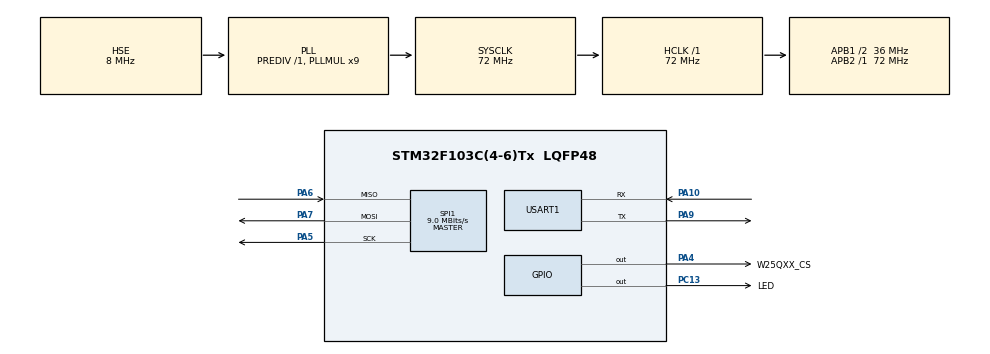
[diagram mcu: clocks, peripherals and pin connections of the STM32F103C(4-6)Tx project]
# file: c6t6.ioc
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FREERTOS.Tasks01=defaultTask,0,128,StartDefaultTask,Default,NULL,Dynamic,NULL,NULL;myTaskLED,0,128,StartTaskLED,Default,NULL,Dynamic,NULL,NULL
FREERTOS.Timers01=myTimer01,Callback01,osTimerPeriodic,Default,NULL,Dynamic,NULL
FREERTOS.configUSE_TIMERS=1
Mcu.Family=STM32F1
Mcu.Name=STM32F103C(4-6)Tx
Mcu.Package=LQFP48
NVIC.PriorityGroup=NVIC_PRIORITYGROUP_4
NVIC.TIM1_UP_IRQn=true\:15\:0\:false\:false\:true\:false\:false\:true\:true
NVIC.TimeBase=TIM1_UP_IRQn
NVIC.TimeBaseIP=TIM1
PA10.Mode=Asynchronous
PA10.Signal=USART1_RX
PA13.Mode=Serial_Wire
PA13.Signal=SYS_JTMS-SWDIO
PA14.Mode=Serial_Wire
PA14.Signal=SYS_JTCK-SWCLK
PA4.GPIO_Label=W25QXX_CS
PA4.GPIO_PuPd=GPIO_PULLUP
PA4.GPIO_Speed=GPIO_SPEED_FREQ_HIGH
PA4.PinState=GPIO_PIN_SET
PA4.Signal=GPIO_Output
PA5.Mode=Full_Duplex_Master
PA5.Signal=SPI1_SCK
PA6.Mode=Full_Duplex_Master
PA6.Signal=SPI1_MISO
PA7.Mode=Full_Duplex_Master
PA7.Signal=SPI1_MOSI
PA9.Mode=Asynchronous
PA9.Signal=USART1_TX
PC13-TAMPER-RTC.GPIO_Label=LED
PC13-TAMPER-RTC.Signal=GPIO_Output
PD0-OSC_IN.Mode=HSE-External-Oscillator
PD0-OSC_IN.Signal=RCC_OSC_IN
PD1-OSC_OUT.Mode=HSE-External-Oscillator
PD1-OSC_OUT.Signal=RCC_OSC_OUT
ProjectManager.HeapSize=0x200
ProjectManager.StackSize=0x400
ProjectManager.TargetToolchain=MDK-ARM V5.32
RCC.AHBFreq_Value=72000000
RCC.APB1CLKDivider=RCC_HCLK_DIV2
RCC.APB1Freq_Value=36000000
RCC.APB1TimFreq_Value=72000000
RCC.APB2Freq_Value=72000000
RCC.APB2TimFreq_Value=72000000
RCC.HCLKFreq_Value=72000000
RCC.PLLMUL=RCC_PLL_MUL9
RCC.PLLSourceVirtual=RCC_PLLSOURCE_HSE
RCC.SYSCLKFreq_VALUE=72000000
RCC.SYSCLKSource=RCC_SYSCLKSOURCE_PLLCLK
RCC.USBFreq_Value=72000000
SPI1.BaudRatePrescaler=SPI_BAUDRATEPRESCALER_8
SPI1.CalculateBaudRate=9.0 MBits/s
SPI1.Direction=SPI_DIRECTION_2LINES
SPI1.Mode=SPI_MODE_MASTER
SPI1.VirtualType=VM_MASTER
USART1.VirtualMode=VM_ASYNC
VP_FREERTOS_VS_CMSIS_V1.Mode=CMSIS_V1
VP_SYS_VS_tim1.Mode=TIM1
board=custom

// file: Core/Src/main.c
/* USER CODE BEGIN Header */
/**
  ******************************************************************************
  * @file           : main.c
  * @brief          : Main program body
  ******************************************************************************
  * @attention
  *
  * Copyright (c) 2025 STMicroelectronics.
  * All rights reserved.
  *
  * This software is licensed under terms that can be found in the LICENSE file
  * in the root directory of this software component.
  * If no LICENSE file comes with this software, it is provided AS-IS.
  *
  ******************************************************************************
  */
/* USER CODE END Header */
#include "main.h"
#include "cmsis_os.h"
#include "spi.h"
#include "usart.h"
#include "gpio.h"

/* USER CODE BEGIN Includes */
#include"W25Qxx.h"
#include<stdio.h>
#include<string.h>
#include"timers.h"//定时器
#include "sfud.h"
#include<assert.h>
#include"SEGGER_RTT.h"
/* USER CODE END Includes */

/* USER CODE BEGIN PTD */
#pragma pack(push, 1) // 禁用结构体填充
typedef struct {
    char date[11];      // 日期：YYYY-MM-DD
    char time[9];       // 时间：HH:MM:SS
    char type[8];       // 类型：INFO/WARN/ERROR
    char content[128];  // 日志内容
} LogEntry;
#pragma pack(pop)      // 恢复默认填充
/* USER CODE END PTD */

/* USER CODE BEGIN PD */
uint8_t wData[0x100];// 写
uint8_t rData[0x100];// 读
uint8_t ID[4];// dev_id
uint32_t i;
#define MAX_LOG_ENTRIES 10 // 不能太大 报错 c6t6\c6t6.axf: Error: L6406E: No space in execution regions with .ANY selector matching main.o(.bss).
LogEntry logs[MAX_LOG_ENTRIES];
uint16_t log_count = 0; // 日志计数器
sfud_flash *flash = NULL;//  sfud 设备对象
uint32_t log_write_addr = 0x0000; // 初始写入地址
#define SFUD_W25Q64_SECTOR_SIZE 4096 // SFUD W25Q64 扇区大小
/* USER CODE END PD */

void SystemClock_Config(void);
void MX_FREERTOS_Init(void);

/* USER CODE BEGIN 0 */
// 系统自检
void SystemCheck(void)
{
  // 灯光闪烁3次
  for(i=0;i<3;i++)
  {
    HAL_GPIO_TogglePin(LED_GPIO_Port,LED_Pin);
    printf("SystemCheck %d \r\n",i);
    HAL_Delay(5000);
  }
}
// sfud测试
void es(void) {
  printf("擦除一个扇区数据\r\n");
  const sfud_flash* flash = sfud_get_device(0);
  sfud_erase(flash, 0, 4096);
}
void ws(void) {
  printf("写入数据\r\n");
  const sfud_flash* flash = sfud_get_device(0);
  uint8_t buff[100] = {0};
  for (uint8_t i = 0; i < 100; i++) {
      buff[i] = i;
  }
  sfud_erase_write(flash, 0, 100, buff);
}
void rs(void) {
  printf("读取数据\r\n");
  const sfud_flash* flash = sfud_get_device(0);
  uint8_t buff[100] = {0};
  sfud_read(flash, 0, 100, buff);
  for (uint8_t i = 0; i < 100; i++) {
      printf("%d ", buff[i]);
      if (i % 10 == 0) {
          printf("\r\n");
      }
  }
}
const uint32_t LOG_START_ADDR = 0x000000; // 日志存储起始地址
#define MAX_LOGS        6000    // 最大日志条目数
// sfud测试
//从Flash读取所有日志到内存
// 检查条目是否为空（全0xFF）
bool is_entry_empty(const LogEntry *entry) {
    const uint8_t *bytes = (const uint8_t *)entry;
    for (size_t i = 0; i < sizeof(LogEntry); i++) {
        if (bytes[i] != 0xFF) return false;
    }
    return true;
}
void log_read_all() {
    if (flash == NULL) {
        printf("[ERROR] Flash设备未初始化!\n");
        return;
    }

    uint32_t addr = LOG_START_ADDR;
    log_count = 0;

    while (addr < flash->chip.capacity && log_count < 2) {
        LogEntry entry;
        sfud_err result = sfud_read(flash, addr, sizeof(LogEntry), (uint8_t *)&entry);

        if (result != SFUD_SUCCESS) {
            printf("[ERROR] 地址0x%08X读取失败: %d\n", addr, result);
            addr += sizeof(LogEntry);
            continue;
        }

        // 调试输出原始数据（可选）
        // printf("读取地址: 0x%08X, 日期: %s, 类型: %s\n", addr, entry.date, entry.type);

        if (!is_entry_empty(&entry)) {
            // 检查字符串终止符
            entry.date[sizeof(entry.date) - 1] = '\0';
            entry.time[sizeof(entry.time) - 1] = '\0';
            entry.type[sizeof(entry.type) - 1] = '\0';
            entry.content[sizeof(entry.content) - 1] = '\0';

            // 拷贝到内存
            memcpy(&logs[log_count], &entry, sizeof(LogEntry));
            log_count++;
        }

        addr += sizeof(LogEntry);
    }

    printf("成功读取 %d 条日志\n", log_count);
}

// 调试函数：打印第一条日志内容
void debug_first_log() {
    if (log_count == 0) {
        printf("无有效日志!\n");
        return;
    }

    printf("第一条日志内容:\n");
    printf("日期: %s\n", logs[0].date);
    printf("时间: %s\n", logs[0].time);
    printf("类型: %s\n", logs[0].type);
    printf("内容: %s\n", logs[0].content);
}
void log_init() {
    // 初始化 SFUD
    sfud_init();
    flash = sfud_get_device(0);

    // 检查 Flash 是否支持擦除和写入
    //assert(flash != NULL && sfud_is_available(flash));

    // 从 Flash 读取上次的写入地址（需持久化存储，此处简化）
    // 实际项目中可将 log_write_addr 存储在 Flash 的固定位置
}
void log_erase_sector(uint32_t addr) {
    sfud_err result = sfud_erase(flash, addr, SFUD_W25Q64_SECTOR_SIZE);
	  printf("0 成功 erase sucess %d\n",result);
    //assert(result == SFUD_SUCCESS);
}
void log_write_entry(LogEntry *entry) {
    // 初始化缓冲区为全 0xFF
    uint8_t buffer[sizeof(LogEntry)];
    memset(buffer, 0xFF, sizeof(buffer));

    // 拷贝有效数据到缓冲区
    memcpy(buffer, entry, sizeof(LogEntry));

    // 写入 Flash
    sfud_err result = sfud_write(flash, log_write_addr, sizeof(buffer), buffer);
    if (result != SFUD_SUCCESS) {
        printf("Error writing log to Flash at 0x%08X\n", log_write_addr);
        return;
    }

    // 更新写入地址
    log_write_addr += sizeof(LogEntry);
}

#if 0
void log_read_all() {
    uint32_t addr = 0;
    log_count = 0;

    while (addr < log_write_addr && log_count < MAX_LOG_ENTRIES) {
        // 从 Flash 读取一条日志
        sfud_read(flash, addr, sizeof(LogEntry), (uint8_t *)&logs[log_count]);

        // 跳过未写入区域（全 0xFF）
        if (logs[log_count].date[0] != 0xFF) {
            log_count++;
        }
        addr += sizeof(LogEntry);
    }
}
#endif
//#define MAX_LOG_ENTRIES 1000  // 最大日志条目数
//LogEntry logs[MAX_LOG_ENTRIES];
//uint16_t log_count = 0;       // 实际读取的日志数量
#include <stdbool.h>

// 检查条目是否为空（全 0xFF）
bool is_entry_empty2(const LogEntry *entry) {
    const uint8_t *bytes = (const uint8_t *)entry;
    for (size_t i = 0; i < sizeof(LogEntry); i++) {
        if (bytes[i] != 0xFF) {
            return false;
        }
    }
    return true;
}

void log_read_all2() {
    uint32_t addr = 0x000000; // 日志存储起始地址
    log_count = 0;            // 重置计数器

    // 遍历日志存储区域
    while (addr < log_write_addr && log_count < MAX_LOG_ENTRIES) {
        // 从 Flash 读取一条日志
        sfud_err result = sfud_read(flash, addr, sizeof(LogEntry), (uint8_t *)&logs[log_count]);
        if (result != SFUD_SUCCESS) {
            printf("Error reading log at 0x%08X\n", addr);
            addr += sizeof(LogEntry); // 跳过错误条目
            continue;
        }

        // 仅统计非空条目
        if (!is_entry_empty(&logs[log_count])) {
            log_count++;
        }

        // 移动到下一个日志位置
        addr += sizeof(LogEntry);
    }

    printf("Total logs read: %d\n", log_count);
}
void filter_logs(const char *selected_date, const char *selected_type) {
    //lv_list_clean(log_list); // 清空当前列表
    printf("\r\n--- Filtered Logs (Date: %s, Type: %s) ---\r\n", selected_date, selected_type);

    for (int i = 0; i < log_count; i++) {
        bool date_match = (strcmp(selected_date, "All") == 0) ||
                          (strcmp(logs[i].date, selected_date) == 0);
        bool type_match = (strcmp(selected_type, "All") == 0) ||
                          (strcmp(logs[i].type, selected_type) == 0);

        if (date_match && type_match) {
            // 显示到 LVGL 列表
            //lv_obj_t *entry = lv_list_add_btn(log_list, NULL, "");
            //lv_obj_t *label = lv_label_create(entry, NULL);
            //lv_label_set_text_fmt(label, "[%s][%s] %s",
            //                      logs[i].date, logs[i].type, logs[i].content);

            // 输出到串口
            printf("[%s][%s] %s\r\n",
                   logs[i].date, logs[i].type, logs[i].content);
        }
    }
    printf("--- End of Logs ---\r\n");
}
void log_write_and_refresh(LogEntry *entry) {
    log_write_entry(entry);      // 写入新日志
    log_read_all();              // 重新读取日志
    filter_logs("All", "All");   // 刷新界面显示
}
// 打印第一条日志的原始字节（十六进制）
void debug_log_entry(const LogEntry *entry) {
    const uint8_t *bytes = (const uint8_t *)entry;
    printf("Raw data of LogEntry:\r\n");
    for (size_t i = 0; i < sizeof(LogEntry); i++) {
        printf("%02X ", bytes[i]);
        if ((i + 1) % 16 == 0) printf("\r\n");
    }
    printf("\r\n");
}

// 在 log_read_and_print 中调用
//debug_log_entry(&logs[0]);
void test_log_read() {
    // 清空日志存储区
    log_write_addr = 0x000000;
    sfud_erase(flash, 0x000000, SFUD_W25Q64_SECTOR_SIZE);

    // 写入有效日志
    LogEntry entry1 = {
        .date = "2023-10-01",
        .time = "12:00:00",
        .type = "INFO",
        .content = "System started."
    };
    log_write_entry(&entry1);

    // 写入一个空条目（全 0xFF）
    LogEntry entry2;
    memset(&entry2, 0xFF, sizeof(LogEntry));
    log_write_entry(&entry2);

    // 读取日志
    log_read_all();
    // 在 log_read_and_print 中调用  可以使用
    debug_log_entry(&logs[0]);
		printf("Test fields:\r\n");
    printf("date:  %s (len=%d)\r\n", logs[0].date, strlen(logs[0].date));
    printf("type:  %s (len=%d)\r\n", logs[0].type, strlen(logs[0].type));
    printf("content:  %s (len=%d)\r\n", logs[0].content, strlen(logs[0].content));
    // 验证结果
    if (log_count == 1 && strcmp(logs[0].date, "2023-10-01") == 0) {
        printf("Test passed: 1 valid log found.\n");
			// 输出到串口
        printf("test [%s][%s] %s \r\n", logs[0].date, logs[0].type, logs[0].content);
    } else {
        printf("Test failed: Expected 1 log, found %d.\n", log_count);
    }
}
uint32_t log_start_addr = 0x000000; // 日志存储起始地址
void log_read_and_print() {
    uint32_t addr = log_start_addr;
    log_count = 0;

    // 读取所有日志到内存
    while (addr < flash->chip.capacity && log_count < MAX_LOG_ENTRIES) {
        sfud_read(flash, addr, sizeof(LogEntry), (uint8_t *)&logs[log_count]);

        if (!is_entry_empty(&logs[log_count])) {
            log_count++;
        }
        addr += sizeof(LogEntry);
    }

    // 通过串口格式化输出
    printf("\r\n--- Log Entries (Total: %d) ---\r\n", log_count);
    for (int i = 0; i < log_count; i++) {
        printf("[%s %s][%s] %s\r\n",
               logs[i].date,
               logs[i].time,
               logs[i].type,
               logs[i].content);
    }
    printf("--- End of Logs ---\r\n");
}
void log_read_and_print2() {
    uint32_t addr = log_start_addr;
    LogEntry entry;

    printf("\r\n--- Log Entries ---\r\n");
    while (addr < flash->chip.capacity) {
        sfud_read(flash, addr, sizeof(LogEntry), (uint8_t *)&entry);

        if (!is_entry_empty(&entry)) {
            printf("[%s %s][%s] %s\r\n",
                   entry.date, entry.time, entry.type, entry.content);
        }
        addr += sizeof(LogEntry);
    }
    printf("--- End of Logs ---\r\n");
}

/* USER CODE END 0 */

int main(void)
{

  /* MCU Configuration--------------------------------------------------------*/

  /* Reset of all peripherals, Initializes the Flash interface and the Systick. */
  HAL_Init();

  /* Configure the system clock */
  SystemClock_Config();

  /* Initialize all configured peripherals */
  MX_GPIO_Init();
  MX_USART1_UART_Init();
  MX_SPI1_Init();
  /* USER CODE BEGIN 2 */
  //sfud_init(); // sfud初始化
  //SystemCheck();// 系统自检
	SEGGER_RTT_Init();// Init rtt tools
  #if 0
	//W25QXX cubemx blog
	//https://blog.csdn.net/lwb450921/article/details/124695575
	printf("spi w25qxx example\r\n");
	HAL_GPIO_WritePin(LED_GPIO_Port,LED_Pin,GPIO_PIN_RESET);// 点亮
  /*-Step1- 验证设备ID  ************************************************Step1*/
	BSP_W25Qx_Init();
	BSP_W25Qx_Read_ID(ID);
    //第一位厂商ID固定0xEF,第二位设备ID根据容量不同,具体为：
     //W25Q16为0x14、32为0x15、40为0x12、64为0x16、80为0x13、128为0x17
	if((ID[0] != 0xEF) | (ID[1] != 0x17))
	{
		printf("something wrong in Step1 \r\n");
	}
	// printer ID info
	{
		printf(" W25Qxx ID is : ");
		for(i=0;i<2;i++)
		{
			printf("0x%02X ",ID[i]);
		}
		printf("\r\n");
	}
	/*-Step2- 擦除块  ************************************************Step2*/
	if(BSP_W25Qx_Erase_Block(0) == W25Qx_OK)
		printf(" QSPI Erase Block OK!\r\n");
	else
		printf("something wrong in Step2\r\n");
	/*-Step3- 写数据  ************************************************Step3*/
	for(i =0;i<0x100;i ++)
	{
			wData[i] = i;//写入数据
            rData[i] = 0; //清零
	}
	//
	//  写入数据
	if(BSP_W25Qx_Write(wData,0x00,0x100)== W25Qx_OK)
		printf(" QSPI Write OK!\r\n");
	else
		printf("something wrong in Step3\r\n");
    /*-Step4- 读数据  ************************************************Step4*/
	if(BSP_W25Qx_Read(rData,0x00,0x100)== W25Qx_OK)
		printf(" QSPI Read ok\r\n\r\n");
	else
		printf("something wrong in Step4\r\n");

	printf("QSPI Read Data : \r\n");
	for(i =0;i<0x100;i++)
		printf("0x%02X  ",rData[i]);
	printf("\r\n\r\n");
	/*-Step5- 数据对比  ************************************************Step5*/
	if(memcmp(wData,rData,0x100) == 0 )
		printf(" W25Q64FV QuadSPI Test OK\r\n");
	else
		printf(" W25Q64FV QuadSPI Test False\r\n");
    #endif
    #if 0
		es();
    ws();
    rs();
		#endif
		//log_init();//  初始化
		SEGGER_RTT_printf(0,"HELLO SEGGER RTT\r\n");
		#if 0
		 // 模拟写入一条新日志
    LogEntry new_log;
    strncpy(new_log.date, "2023-10-01", sizeof(new_log.date));
    strncpy(new_log.time, "12:05:00", sizeof(new_log.time));
    strncpy(new_log.type, "INFO", sizeof(new_log.type));
    strncpy(new_log.content, "Sensor data: 25.3°C", sizeof(new_log.content));
		//log_write_and_refresh(&new_log);
		//log_read_all();              // 重新读取日志
    //filter_logs("All", "All");   // 刷新界面显示
		test_log_read();

    // 读取日志
    log_read_all();

    // 验证结果
    if (log_count == 1 && strcmp(logs[0].date, "2023-10-01") == 0) {
        printf("Test passed: 1 valid log found.\n");
			// 输出到串口
            printf("test [%s][%s] %s \r\n", logs[0].date, logs[0].type, logs[0].content);
    } else {
        printf("Test failed: Expected 1 log, found %d.\n", log_count);
    }
		#endif
		//log_read_and_print2();
		//test_log_read();  // 正常输出
		 // 读取日志到内存
    //log_read_all();

    // 调试输出
    //debug_first_log();

		//rs();
  /* USER CODE END 2 */

  /* Call init function for freertos objects (in cmsis_os2.c) */
  MX_FREERTOS_Init();

  /* Start scheduler */
  osKernelStart();

  /* We should never get here as control is now taken by the scheduler */

  /* Infinite loop */
  while (1)
  {

  }
}

void SystemClock_Config(void)
{
  RCC_OscInitTypeDef RCC_OscInitStruct = {0};
  RCC_ClkInitTypeDef RCC_ClkInitStruct = {0};

  /** Initializes the RCC Oscillators according to the specified parameters
  * in the RCC_OscInitTypeDef structure.
  */
  RCC_OscInitStruct.OscillatorType = RCC_OSCILLATORTYPE_HSE;
  RCC_OscInitStruct.HSEState = RCC_HSE_ON;
  RCC_OscInitStruct.HSEPredivValue = RCC_HSE_PREDIV_DIV1;
  RCC_OscInitStruct.HSIState = RCC_HSI_ON;
  RCC_OscInitStruct.PLL.PLLState = RCC_PLL_ON;
  RCC_OscInitStruct.PLL.PLLSource = RCC_PLLSOURCE_HSE;
  RCC_OscInitStruct.PLL.PLLMUL = RCC_PLL_MUL9;
  if (HAL_RCC_OscConfig(&RCC_OscInitStruct) != HAL_OK)
  {
    Error_Handler();
  }

  /** Initializes the CPU, AHB and APB buses clocks
  */
  RCC_ClkInitStruct.ClockType = RCC_CLOCKTYPE_HCLK|RCC_CLOCKTYPE_SYSCLK
                              |RCC_CLOCKTYPE_PCLK1|RCC_CLOCKTYPE_PCLK2;
  RCC_ClkInitStruct.SYSCLKSource = RCC_SYSCLKSOURCE_PLLCLK;
  RCC_ClkInitStruct.AHBCLKDivider = RCC_SYSCLK_DIV1;
  RCC_ClkInitStruct.APB1CLKDivider = RCC_HCLK_DIV2;
  RCC_ClkInitStruct.APB2CLKDivider = RCC_HCLK_DIV1;

  if (HAL_RCC_ClockConfig(&RCC_ClkInitStruct, FLASH_LATENCY_2) != HAL_OK)
  {
    Error_Handler();
  }
}

void HAL_TIM_PeriodElapsedCallback(TIM_HandleTypeDef *htim)
{
  if (htim->Instance == TIM1) {
    HAL_IncTick();
  }
}

void Error_Handler(void)
{
  __disable_irq();
  while (1)
  {
  }
}

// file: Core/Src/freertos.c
/* USER CODE BEGIN Header */
/**
  ******************************************************************************
  * File Name          : freertos.c
  * Description        : Code for freertos applications
  ******************************************************************************
  * @attention
  *
  * Copyright (c) 2025 STMicroelectronics.
  * All rights reserved.
  *
  * This software is licensed under terms that can be found in the LICENSE file
  * in the root directory of this software component.
  * If no LICENSE file comes with this software, it is provided AS-IS.
  *
  ******************************************************************************
  */
/* USER CODE END Header */

#include "FreeRTOS.h"
#include "task.h"
#include "main.h"
#include "cmsis_os.h"

/* USER CODE BEGIN Includes */
#include<stdio.h>
#include"queue.h"
#include"SEGGER_RTT.h"
/* USER CODE END Includes */

/* USER CODE BEGIN Variables */
 xQueueHandle xQueuePrint;// 消息队列句柄
 static char pcToPrint[80];
 osThreadId myTaskPrintHandle ;
/* USER CODE END Variables */
osThreadId defaultTaskHandle;
osThreadId myTaskLEDHandle;
osTimerId myTimer01Handle;

/* USER CODE BEGIN FunctionPrototypes */
void printTask(void  const*para);
/* USER CODE END FunctionPrototypes */

void StartDefaultTask(void const * argument);
void StartTaskLED(void const * argument);
void Callback01(void const * argument);

void MX_FREERTOS_Init(void); /* (MISRA C 2004 rule 8.1) */

/* GetIdleTaskMemory prototype (linked to static allocation support) */
void vApplicationGetIdleTaskMemory( StaticTask_t **ppxIdleTaskTCBBuffer, StackType_t **ppxIdleTaskStackBuffer, uint32_t *pulIdleTaskStackSize );

/* GetTimerTaskMemory prototype (linked to static allocation support) */
void vApplicationGetTimerTaskMemory( StaticTask_t **ppxTimerTaskTCBBuffer, StackType_t **ppxTimerTaskStackBuffer, uint32_t *pulTimerTaskStackSize );

/* USER CODE BEGIN GET_IDLE_TASK_MEMORY */
static StaticTask_t xIdleTaskTCBBuffer;
static StackType_t xIdleStack[configMINIMAL_STACK_SIZE];

void vApplicationGetIdleTaskMemory( StaticTask_t **ppxIdleTaskTCBBuffer, StackType_t **ppxIdleTaskStackBuffer, uint32_t *pulIdleTaskStackSize )
{
  *ppxIdleTaskTCBBuffer = &xIdleTaskTCBBuffer;
  *ppxIdleTaskStackBuffer = &xIdleStack[0];
  *pulIdleTaskStackSize = configMINIMAL_STACK_SIZE;
  /* place for user code */
}
void vTimerCallback(TimerHandle_t xTimer1)
{
	sprintf(pcToPrint,"Hello FreeRTOS! timer1\r\n");
	xQueueSend(xQueuePrint,pcToPrint,portMAX_DELAY);
}
/* USER CODE END GET_IDLE_TASK_MEMORY */

/* USER CODE BEGIN GET_TIMER_TASK_MEMORY */
static StaticTask_t xTimerTaskTCBBuffer;
static StackType_t xTimerStack[configTIMER_TASK_STACK_DEPTH];

void vApplicationGetTimerTaskMemory( StaticTask_t **ppxTimerTaskTCBBuffer, StackType_t **ppxTimerTaskStackBuffer, uint32_t *pulTimerTaskStackSize )
{
  *ppxTimerTaskTCBBuffer = &xTimerTaskTCBBuffer;
  *ppxTimerTaskStackBuffer = &xTimerStack[0];
  *pulTimerTaskStackSize = configTIMER_TASK_STACK_DEPTH;
  /* place for user code */
}
/* USER CODE END GET_TIMER_TASK_MEMORY */

void MX_FREERTOS_Init(void) {
  /* USER CODE BEGIN Init */
 xQueuePrint = xQueueCreate(2,sizeof(pcToPrint));
  /* USER CODE END Init */

  /* Create the timer(s) */
  /* definition and creation of myTimer01 */
  osTimerDef(myTimer01, Callback01);
  myTimer01Handle = osTimerCreate(osTimer(myTimer01), osTimerPeriodic, NULL);

  /* USER CODE BEGIN RTOS_TIMERS */
  /* start timers, add new ones, ... */
  //  xTimer = xTimerCreate("Timer", 1000 / portTICK_PERIOD_MS, pdTRUE, (void *) 0, vTimerCallback);// 创建一个定时器，定时器周期为1000ms，定时器模式为周期性定时器
  //xTimerStart(myTimer01Handle, 0);// 启动定时器
   osTimerStart(myTimer01Handle,1000);
  /* USER CODE END RTOS_TIMERS */

  /* Create the thread(s) */
  /* definition and creation of defaultTask */
  osThreadDef(defaultTask, StartDefaultTask, osPriorityNormal, 0, 128);
  defaultTaskHandle = osThreadCreate(osThread(defaultTask), NULL);

  /* definition and creation of myTaskLED */
  osThreadDef(myTaskLED, StartTaskLED, osPriorityNormal, 0, 128);
  myTaskLEDHandle = osThreadCreate(osThread(myTaskLED), NULL);

  /* USER CODE BEGIN RTOS_THREADS */
  /* add threads, ... */
	  osThreadDef(myTaskPrint, printTask, osPriorityNormal, 0, 128);
  myTaskPrintHandle = osThreadCreate(osThread(myTaskPrint), NULL);

  /* USER CODE END RTOS_THREADS */

}

void StartDefaultTask(void const * argument)
{
  for(;;)
  {
    osDelay(1);
  }
}

void StartTaskLED(void const * argument)
{
  /* USER CODE BEGIN StartTaskLED */
	uint16_t cnt = 0;
	TickType_t xFirstTime;
  /* Infinite loop */
  for(;;)
  {
		xFirstTime = xTaskGetTickCount();// 进入点的系统节拍
    osDelay(1000);
		HAL_GPIO_TogglePin(LED_GPIO_Port,LED_Pin);
		cnt = xTaskGetTickCount()-xFirstTime;
		sprintf(pcToPrint,"task 1 %3d  cnt\r\n",cnt);//
		printf("led flash\n");
		SEGGER_RTT_printf(0,pcToPrint);
		SEGGER_RTT_printf(0, "Hello, SEGGER RTT! led flash\r\n");
		xQueueSendToBack(xQueuePrint,pcToPrint,0);
  }
  /* USER CODE END StartTaskLED */
}

/* Callback01 function */
void Callback01(void const * argument)
{
  /* USER CODE BEGIN Callback01 */
		sprintf(pcToPrint,"Hello FreeRTOS! timer1\r\n");
	  xQueueSend(xQueuePrint,pcToPrint,portMAX_DELAY);
  /* USER CODE END Callback01 */
}

/* USER CODE BEGIN Application */
 void printTask(void const *arg)
{
	char pcToWrite[80];
	while(1)
	{
		xQueueReceive(xQueuePrint,pcToWrite,portMAX_DELAY);
		printf("pc print %s\n",pcToWrite);
		for(int i=0;i<10;i++)
		{
			printf("%x\n",pcToWrite[i]);
		}
	}
}
/* USER CODE END Application */
